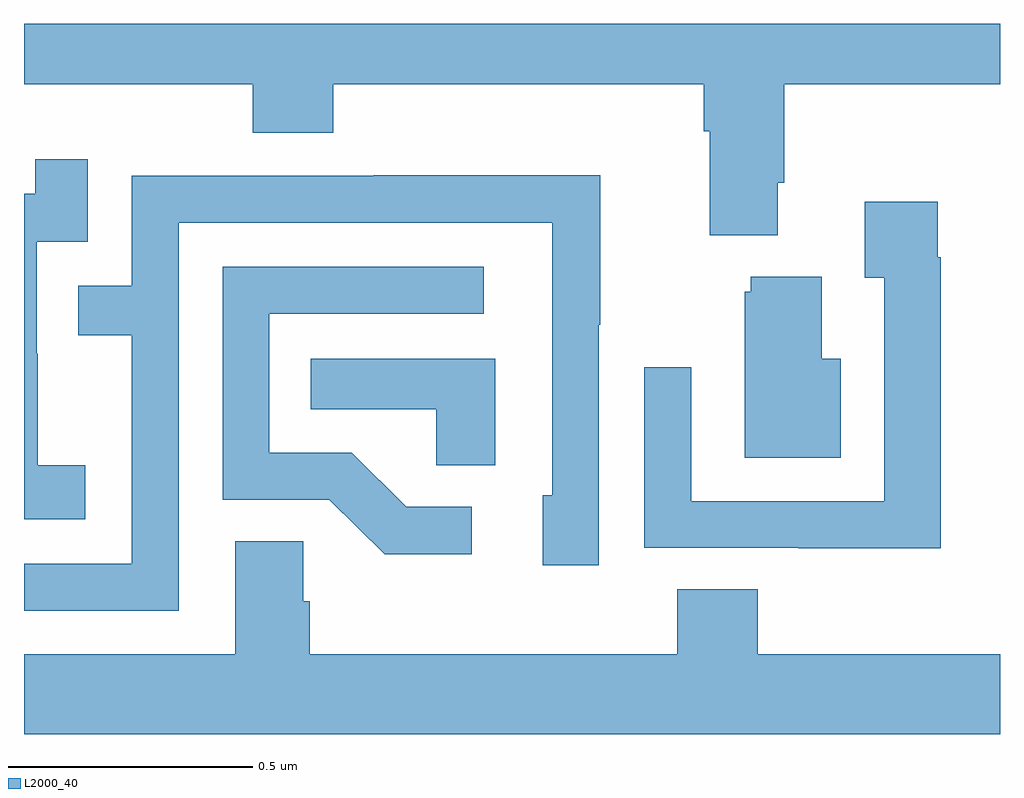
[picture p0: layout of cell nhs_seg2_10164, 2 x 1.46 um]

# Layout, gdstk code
import gdstk
lib = gdstk.Library(unit=1e-6, precision=1e-09)
def P(c, l, *ps):  # polygons
    for p in ps: c.add(gdstk.Polygon(p, *l))
L2000_40 = (2000, 40)

nhs_seg2_10164 = lib.new_cell('nhs_seg2_10164')
P(nhs_seg2_10164, L2000_40, [(239.545,607.474),(239.558,607.474),(239.558,607.676),(240,607.676),(240,607.8),(238,607.8),(238,607.676),(238.469,607.676),(238.469,607.577),(238.634,607.577),(238.634,607.676),(239.393,607.676),(239.393,607.58),(239.405,607.58),(239.405,607.367),(239.545,607.367)],
  [(238.126,606.895),(238.028,606.895),(238.028,607.124),(238.026,607.124),(238.026,607.353),(238.131,607.353),(238.131,607.522),(238.023,607.522),(238.023,607.452),(238,607.452),(238,606.785),(238.126,606.785)],
  [(238.317,607.392),(239.082,607.392),(239.082,606.834),(239.063,606.834),(239.063,606.69),(239.178,606.69),(239.178,607.183),(239.181,607.183),(239.181,607.49),(238.717,607.49),(238.717,607.488),(238.221,607.488),(238.221,607.263),(238.111,607.263),(238.111,607.162),(238.221,607.162),(238.221,606.693),(238,606.693),(238,606.597),(238.317,606.597)],
  [(239.879,607.322),(239.872,607.322),(239.872,607.435),(239.723,607.435),(239.723,607.279),(239.763,607.279),(239.763,606.822),(239.367,606.822),(239.367,607.096),(239.271,607.096),(239.271,606.726),(239.587,606.726),(239.587,606.725),(239.879,606.725)],
  [(238.918,606.81),(238.783,606.81),(238.672,606.921),(238.503,606.921),(238.503,607.206),(238.942,607.206),(238.942,607.302),(238.407,607.302),(238.407,606.825),(238.626,606.825),(238.739,606.713),(238.918,606.713)],
  [(239.674,607.114),(239.635,607.114),(239.635,607.282),(239.489,607.282),(239.489,607.251),(239.477,607.251),(239.477,606.911),(239.674,606.911)],
  [(238.966,607.114),(238.588,607.114),(238.588,607.01),(238.845,607.01),(238.845,606.895),(238.966,606.895)],
  [(240,606.508),(239.504,606.508),(239.504,606.641),(239.339,606.641),(239.339,606.508),(238.586,606.508),(238.586,606.617),(238.572,606.617),(238.572,606.74),(238.433,606.74),(238.433,606.508),(238,606.508),(238,606.344),(240,606.344)])

lib.write_gds('nhs_seg2_10164.gds')
